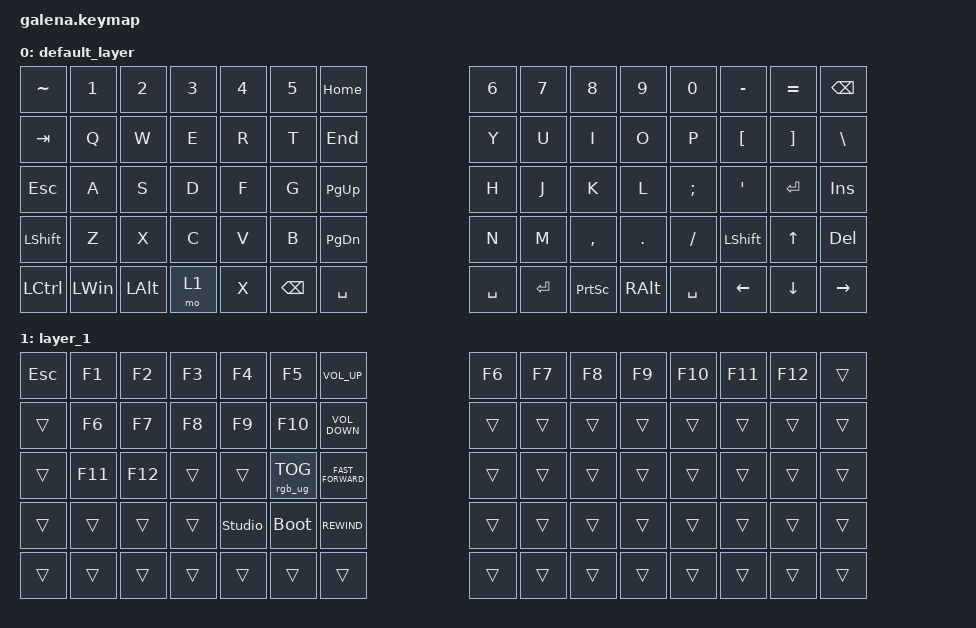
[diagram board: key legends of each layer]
#include <behaviors.dtsi>
#include <dt-bindings/zmk/keys.h>
#include <dt-bindings/zmk/rgb.h>

/ {
    keymap {
        compatible = "zmk,keymap";

        default_layer {
            bindings = <
&kp TILDE  &kp NUMBER_1  &kp NUMBER_2  &kp NUMBER_3  &kp NUMBER_4  &kp NUMBER_5  &kp HOME  &kp NUMBER_6  &kp N7  &kp N8  &kp N9  &kp N0  &kp MINUS  &kp EQUAL  &kp BACKSPACE  &kp TAB  &kp Q  &kp W  &kp E  &kp R  &kp T  &kp END  &kp Y  &kp U  &kp I  &kp O  &kp P  &kp LEFT_BRACKET  &kp RIGHT_BRACKET  &kp BACKSLASH  &kp ESCAPE  &kp A  &kp S  &kp D  &kp F  &kp G  &kp PG_UP  &kp H  &kp J  &kp K  &kp L  &kp SEMICOLON  &kp SQT  &kp ENTER  &kp INSERT  &kp LEFT_SHIFT  &kp Z  &kp X  &kp C  &kp V  &kp B  &kp PAGE_DOWN  &kp N  &kp M  &kp COMMA  &kp PERIOD  &kp SLASH  &kp LEFT_SHIFT  &kp UP_ARROW  &kp DELETE  &kp LCTRL  &kp LWIN  &kp LEFT_ALT  &mo 1  &kp X  &kp BSPC  &kp SPACE  &kp SPACE  &kp ENTER  &kp PRINTSCREEN  &kp RALT  &kp SPACE  &kp LEFT  &kp DOWN  &kp RIGHT
            >;
        };

        layer_1 {
            bindings = <
&kp ESC  &kp F1  &kp F2  &kp F3  &kp F4  &kp F5  &kp K_VOLUME_UP  &kp F6  &kp F7  &kp F8  &kp F9  &kp F10  &kp F11  &kp F12  &trans  &trans  &kp F6  &kp F7  &kp F8  &kp F9  &kp F10  &kp K_VOLUME_DOWN  &trans  &trans  &trans  &trans  &trans  &trans  &trans  &trans  &trans  &kp F11  &kp F12  &trans  &trans  &rgb_ug RGB_TOG  &kp C_FAST_FORWARD  &trans  &trans  &trans  &trans  &trans  &trans  &trans  &trans  &trans  &trans  &trans  &trans  &studio_unlock  &bootloader  &kp C_REWIND  &trans  &trans  &trans  &trans  &trans  &trans  &trans  &trans  &trans  &trans  &trans  &trans  &trans  &trans  &trans  &trans  &trans  &trans  &trans  &trans  &trans  &trans  &trans
            >;
        };
    };
};
